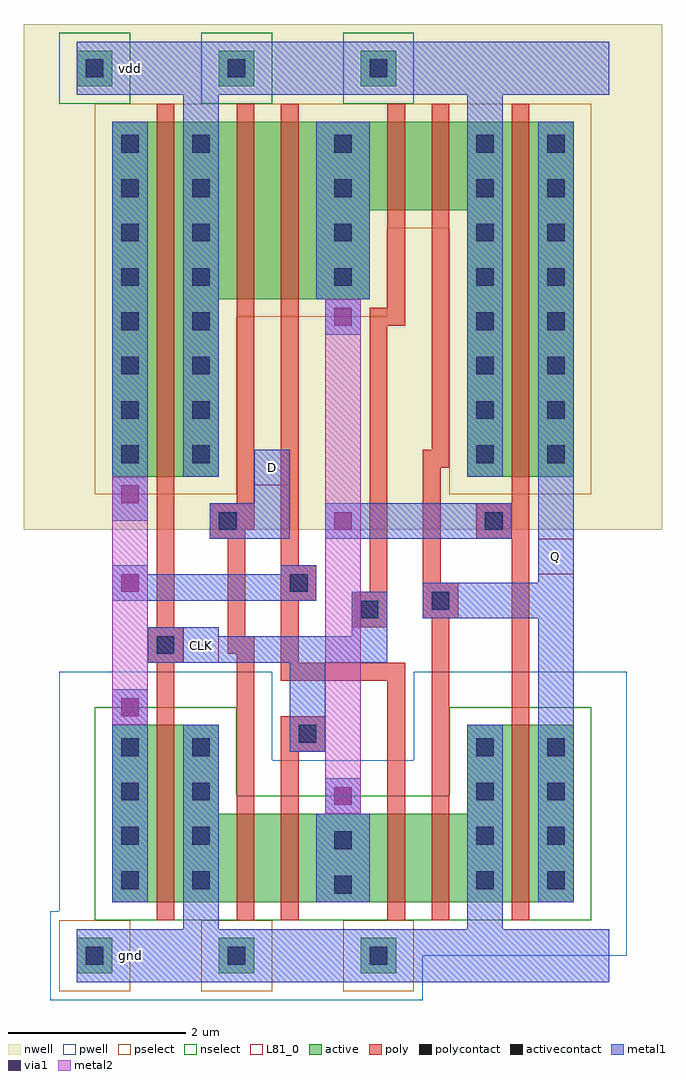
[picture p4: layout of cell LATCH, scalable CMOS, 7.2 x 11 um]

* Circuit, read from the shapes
.subckt LATCH CLK D Q gnd vdd
M1 gnd CLK n1 gnd nfet w=2u l=0.2u
M2 n2 D gnd gnd nfet w=1u l=0.2u
M3 n3 CLK n2 gnd nfet w=1u l=0.2u
M4 n4 n1 n3 gnd nfet w=1u l=0.2u
M5 gnd Q n4 gnd nfet w=1u l=0.2u
M6 Q n3 gnd gnd nfet w=2u l=0.2u
M7 vdd CLK n1 vdd pfet w=4u l=0.2u
M8 n5 D vdd vdd pfet w=2u l=0.2u
M9 n3 n1 n5 vdd pfet w=2u l=0.2u
M10 n6 CLK n3 vdd pfet w=1u l=0.2u
M11 vdd Q n6 vdd pfet w=1u l=0.2u
M12 Q n3 vdd vdd pfet w=4u l=0.2u
.ends

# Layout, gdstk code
import gdstk
lib = gdstk.Library(unit=1e-6, precision=1e-09)
def R(c, l, rs):  # rectangles x0, y0, x1, y1
    for r in rs: c.add(gdstk.rectangle(r[:2], r[2:], *l))
def A(c, l, x, y, w, h, nx, ny, dx, dy):  # array of equal rectangles
    R(c, l, [(x+i*dx, y+j*dy, x+i*dx+w, y+j*dy+h) for i in range(nx) for j in range(ny)])
pwell = (41, 0)
nwell = (42, 0)
active = (43, 0)
pselect = (44, 0)
nselect = (45, 0)
poly = (46, 0)
polycontact = (47, 0)
activecontact = (48, 0)
metal1 = (49, 0)
via1 = (50, 0)
metal2 = (51, 0)
L81_0 = (81, 0)

latch = lib.new_cell('LATCH')
R(latch, pwell, [(-0.5,-0.5,3.7,0), (-0.5,0,6,0.5), (-0.4,0.5,6,2.2), (-0.4,2.2,2,3.2), (3.6,2.2,6,3.2)])
R(latch, nwell, [(-0.8,4.8,6.4,10.5)])
A(latch, active, -0.2, -0.2, 0.4, 0.4, 3, 2, 1.6, 10)
R(latch, active, [(0.2,0.6,5.4,1.6), (0.2,1.6,1.4,2.6), (4.2,1.6,5.4,2.6), (0.2,5.4,1.4,7.4), (4.2,5.4,5.4,8.4), (0.2,7.4,3.1,8.4), (0.2,8.4,5.4,9.4)])
A(latch, pselect, -0.4, -0.4, 0.8, 0.8, 3, 1, 1.6, 0)
R(latch, pselect, [(0,5.2,1.6,7.2), (4,5.2,5.6,8.2), (0,7.2,3.3,8.2), (0,8.2,5.6,9.6)])
A(latch, nselect, -0.4, 9.6, 0.8, 0.8, 3, 1, 1.6, 0)
R(latch, nselect, [(0,0.4,5.6,1.8), (0,1.8,1.6,2.8), (4,1.8,5.6,2.8)])
R(latch, poly, [(0.7,0.4,0.9,3.3), (1.6,0.4,1.8,3.4), (2.1,0.4,2.3,2.3), (3.3,0.4,3.5,3.1), (3.8,0.4,4,3.8), (4.7,0.4,4.9,4.7), (2.1,2.3,2.6,2.7), (2.1,3.1,3.5,3.3), (0.6,3.3,1,3.7), (2.1,3.3,2.3,4), (1.5,3.4,1.8,3.6), (1.5,3.6,1.7,4.7), (0.7,3.7,0.9,9.6), (2.9,3.7,3.3,4.1), (3.7,3.8,4.1,4.2), (2.1,4,2.5,4.4), (3.1,4.1,3.3,7.1), (3.7,4.2,3.9,5.5), (2.1,4.4,2.3,9.6), (1.3,4.7,1.7,4.8), (4.3,4.7,4.9,5.1), (1.3,4.8,1.8,5.1), (1.6,5.1,1.8,9.6), (4.7,5.1,4.9,9.6), (3.7,5.5,4,5.7), (3.8,5.7,4,9.6), (3.1,7.1,3.5,7.3), (3.3,7.3,3.5,9.6)])
R(latch, polycontact, [(2.3,2.4,2.5,2.6), (0.7,3.4,0.9,3.6), (3,3.8,3.2,4), (3.8,3.9,4,4.1), (2.2,4.1,2.4,4.3), (1.4,4.8,1.6,5), (4.4,4.8,4.6,5)])
A(latch, activecontact, -0.1, -0.1, 0.2, 0.2, 3, 2, 1.6, 10)
A(latch, activecontact, 0.3, 0.75, 0.2, 0.2, 1, 4, 0, 0.5)
A(latch, activecontact, 1.1, 0.75, 0.2, 0.2, 1, 4, 0, 0.5)
A(latch, activecontact, 4.3, 0.75, 0.2, 0.2, 1, 4, 0, 0.5)
A(latch, activecontact, 5.1, 0.75, 0.2, 0.2, 1, 4, 0, 0.5)
A(latch, activecontact, 0.3, 5.55, 0.2, 0.2, 1, 8, 0, 0.5)
A(latch, activecontact, 1.1, 5.55, 0.2, 0.2, 1, 4, 0, 0.5)
A(latch, activecontact, 4.3, 5.55, 0.2, 0.2, 1, 4, 0, 0.5)
A(latch, activecontact, 5.1, 5.55, 0.2, 0.2, 1, 8, 0, 0.5)
A(latch, activecontact, 1.1, 7.55, 0.2, 0.2, 3, 4, 1.6, 0.5)
R(latch, activecontact, [(2.7,0.7,2.9,0.9), (2.7,1.2,2.9,1.4)])
R(latch, metal1, [(-0.2,-0.3,5.8,0.3), (1,0.3,1.4,2.6), (4.2,0.3,4.6,2.6), (0.2,0.6,0.6,3), (2.5,0.6,3.1,1.6), (5,0.6,5.4,3.8), (2.6,1.6,3,2), (2.2,2.3,2.6,3.3), (0.6,3.3,3.3,3.6), (0.6,3.6,1.4,3.7), (2.9,3.6,3.3,4.1), (3.7,3.8,5.4,4.2), (0.2,4,2.5,4.3), (5,4.2,5.4,9.4), (0.2,4.3,0.6,4.4), (2.1,4.3,2.5,4.4), (1.3,4.7,2.2,5.1), (2.6,4.7,4.7,5.1), (0.2,4.9,0.6,9.4), (1.8,5.1,2.2,5.7), (1,5.4,1.4,9.7), (4.2,5.4,4.6,9.7), (2.6,7,3,7.4), (2.5,7.4,3.1,9.4), (-0.2,9.7,5.8,10.3)])
R(latch, via1, [(2.7,1.7,2.9,1.9), (0.3,2.7,0.5,2.9), (0.3,4.1,0.5,4.3), (2.7,4.8,2.9,5), (0.3,5.1,0.5,5.3), (2.7,7.1,2.9,7.3)])
R(latch, metal2, [(2.6,1.6,3,7.4), (0.2,2.6,0.6,5.4)])
R(latch, L81_0, [(1,3.3,1.4,3.7), (5,4.3,5.4,4.7), (1.8,5.3,2.2,5.7)])
latch.add(gdstk.Label('D', (2,5.5), layer=49, texttype=0))
latch.add(gdstk.Label('Q', (5.2,4.5), layer=49, texttype=0))
latch.add(gdstk.Label('gnd', (0.4,0), layer=49, texttype=0))
latch.add(gdstk.Label('vdd', (0.4,10), layer=49, texttype=0))
latch.add(gdstk.Label('CLK', (1.2,3.5), layer=49, texttype=0))

lib.write_gds('LATCH.gds')
